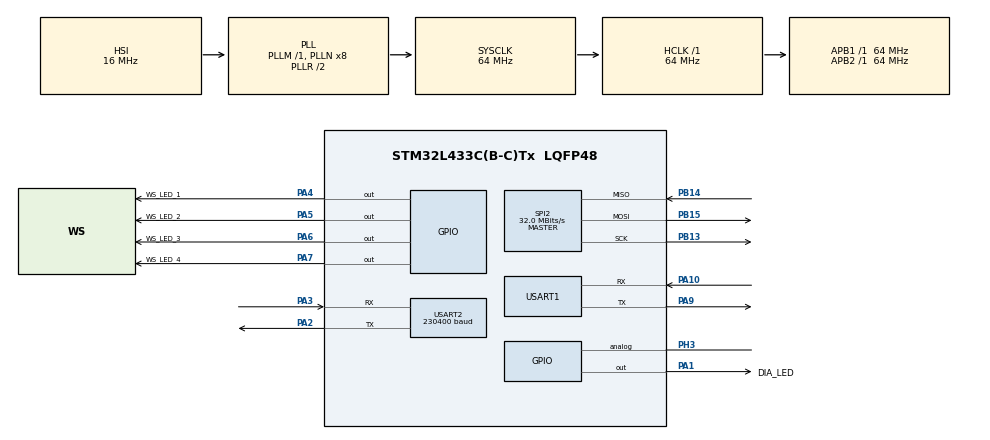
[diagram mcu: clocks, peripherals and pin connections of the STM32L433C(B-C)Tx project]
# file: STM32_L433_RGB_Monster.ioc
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Dma.Request0=TIM2_CH1
Dma.Request1=TIM2_UP
Dma.Request2=TIM2_CH2/CH4
Dma.TIM2_CH1.0.Direction=DMA_MEMORY_TO_PERIPH
Dma.TIM2_CH1.0.Instance=DMA1_Channel5
Dma.TIM2_CH1.0.MemDataAlignment=DMA_MDATAALIGN_WORD
Dma.TIM2_CH1.0.MemInc=DMA_MINC_ENABLE
Dma.TIM2_CH1.0.Mode=DMA_CIRCULAR
Dma.TIM2_CH1.0.PeriphDataAlignment=DMA_PDATAALIGN_WORD
Dma.TIM2_CH1.0.PeriphInc=DMA_PINC_DISABLE
Dma.TIM2_CH1.0.Priority=DMA_PRIORITY_VERY_HIGH
Dma.TIM2_CH2/CH4.2.Direction=DMA_MEMORY_TO_PERIPH
Dma.TIM2_CH2/CH4.2.Instance=DMA1_Channel7
Dma.TIM2_CH2/CH4.2.MemDataAlignment=DMA_MDATAALIGN_WORD
Dma.TIM2_CH2/CH4.2.MemInc=DMA_MINC_ENABLE
Dma.TIM2_CH2/CH4.2.Mode=DMA_CIRCULAR
Dma.TIM2_CH2/CH4.2.PeriphDataAlignment=DMA_PDATAALIGN_WORD
Dma.TIM2_CH2/CH4.2.PeriphInc=DMA_PINC_DISABLE
Dma.TIM2_CH2/CH4.2.Priority=DMA_PRIORITY_VERY_HIGH
Dma.TIM2_UP.1.Direction=DMA_MEMORY_TO_PERIPH
Dma.TIM2_UP.1.Instance=DMA1_Channel2
Dma.TIM2_UP.1.MemDataAlignment=DMA_MDATAALIGN_WORD
Dma.TIM2_UP.1.MemInc=DMA_MINC_ENABLE
Dma.TIM2_UP.1.Mode=DMA_CIRCULAR
Dma.TIM2_UP.1.PeriphDataAlignment=DMA_PDATAALIGN_WORD
Dma.TIM2_UP.1.PeriphInc=DMA_PINC_DISABLE
Dma.TIM2_UP.1.Priority=DMA_PRIORITY_VERY_HIGH
Mcu.Family=STM32L4
Mcu.Name=STM32L433C(B-C)Tx
Mcu.Package=LQFP48
NVIC.DMA1_Channel2_IRQn=true\:0\:0\:false\:false\:true\:false\:true\:true
NVIC.DMA1_Channel5_IRQn=true\:0\:0\:false\:false\:true\:false\:true\:true
NVIC.DMA1_Channel7_IRQn=true\:0\:0\:false\:false\:true\:false\:true\:true
NVIC.PriorityGroup=NVIC_PRIORITYGROUP_4
NVIC.TIM2_IRQn=true\:0\:0\:false\:false\:true\:true\:true\:true
NVIC.USART1_IRQn=true\:0\:0\:false\:false\:true\:true\:true\:true
NVIC.USART2_IRQn=true\:0\:0\:false\:false\:true\:true\:true\:true
PA1.GPIO_Label=DIA_LED
PA1.Signal=GPIO_Output
PA10.Mode=Asynchronous
PA10.Signal=USART1_RX
PA13\ (JTMS-SWDIO).Mode=Serial_Wire
PA13\ (JTMS-SWDIO).Signal=SYS_JTMS-SWDIO
PA14\ (JTCK-SWCLK).Mode=Serial_Wire
PA14\ (JTCK-SWCLK).Signal=SYS_JTCK-SWCLK
PA2.Mode=Asynchronous
PA2.Signal=USART2_TX
PA3.Mode=Asynchronous
PA3.Signal=USART2_RX
PA4.GPIO_Label=WS_LED_1
PA4.Signal=GPIO_Output
PA5.GPIO_Label=WS_LED_2
PA5.Signal=GPIO_Output
PA6.GPIO_Label=WS_LED_3
PA6.Signal=GPIO_Output
PA7.GPIO_Label=WS_LED_4
PA7.Signal=GPIO_Output
PA9.Mode=Asynchronous
PA9.Signal=USART1_TX
PB13.Mode=Full_Duplex_Master
PB13.Signal=SPI2_SCK
PB14.Mode=Full_Duplex_Master
PB14.Signal=SPI2_MISO
PB15.Mode=Full_Duplex_Master
PB15.Signal=SPI2_MOSI
PH3-BOOT0.Signal=GPIO_Analog
ProjectManager.HeapSize=0x200
ProjectManager.StackSize=0x400
ProjectManager.TargetToolchain=Makefile
RCC.ADCFreq_Value=64000000
RCC.AHBFreq_Value=64000000
RCC.APB1Freq_Value=64000000
RCC.APB1TimFreq_Value=64000000
RCC.APB2Freq_Value=64000000
RCC.APB2TimFreq_Value=64000000
RCC.CortexFreq_Value=64000000
RCC.HCLKFreq_Value=64000000
RCC.HSE_VALUE=8000000
RCC.HSI48_VALUE=48000000
RCC.HSI_VALUE=16000000
RCC.LSE_VALUE=32768
RCC.MSI_VALUE=4000000
RCC.PLLSourceVirtual=RCC_PLLSOURCE_HSI
RCC.SYSCLKFreq_VALUE=64000000
RCC.SYSCLKSource=RCC_SYSCLKSOURCE_PLLCLK
RCC.USBFreq_Value=64000000
RCC.VCOOutputFreq_Value=128000000
RTC.Format=RTC_FORMAT_BIN
RTC.HourFormat=RTC_HOURFORMAT_12
RTC.Year=25
SPI2.BaudRatePrescaler=SPI_BAUDRATEPRESCALER_2
SPI2.CalculateBaudRate=32.0 MBits/s
SPI2.Direction=SPI_DIRECTION_2LINES
SPI2.Mode=SPI_MODE_MASTER
SPI2.VirtualType=VM_MASTER
TIM2.Channel-PWM\ Generation1\ No\ Output=TIM_CHANNEL_1
TIM2.Channel-PWM\ Generation2\ No\ Output=TIM_CHANNEL_2
USART1.VirtualMode-Asynchronous=VM_ASYNC
USART2.BaudRate=230400
USART2.VirtualMode-Asynchronous=VM_ASYNC
VP_RTC_VS_RTC_Activate.Mode=RTC_Enabled
VP_RTC_VS_RTC_Calendar.Mode=RTC_Calendar
VP_TIM2_VS_no_output1.Mode=PWM Generation1 No Output
VP_TIM2_VS_no_output2.Mode=PWM Generation2 No Output
board=custom

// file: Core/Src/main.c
/* USER CODE BEGIN Header */
/**
  ******************************************************************************
  * @file           : main.c
  * @brief          : Main program body
  ******************************************************************************
  * @attention
  *
  * Copyright (c) 2025 STMicroelectronics.
  * All rights reserved.
  *
  * This software is licensed under terms that can be found in the LICENSE file
  * in the root directory of this software component.
  * If no LICENSE file comes with this software, it is provided AS-IS.
  *
  ******************************************************************************
  */
/* USER CODE END Header */
#include "main.h"

/* USER CODE BEGIN Includes */
#include "NOS_Lib.h"
/* USER CODE END Includes */

/* USER CODE BEGIN PTD */
typedef union NOS_RealTime_Union_t
{
  uint64_t compressedTime;
  uint8_t particles[8];
}NOS_RealTime_Union;

typedef enum NOS_RealTime_Union_Decoder_e
{
  Seconds,Minutes,Hours,Days,Month,Year
}NOS_RealTime_Union_Decoder;
/* USER CODE END PTD */

RTC_HandleTypeDef hrtc;

SPI_HandleTypeDef hspi2;

TIM_HandleTypeDef htim2;
DMA_HandleTypeDef hdma_tim2_ch1;
DMA_HandleTypeDef hdma_tim2_up;
DMA_HandleTypeDef hdma_tim2_ch2_ch4;

UART_HandleTypeDef huart1;
UART_HandleTypeDef huart2;

/* USER CODE BEGIN PV */
extern uint8_t frameBufferA[3 * 512];
extern uint8_t frameBufferB[3 * 512];
extern uint8_t frameBufferC[3 * 512];
extern uint8_t frameBufferD[3 * 512];

NOS_TimeEvent screenUpdateEvent = {0};
NOS_TimeEvent timeTestEvent = {0};

WS2812B_Strip stripA = {0};
WS2812B_Strip stripB = {0};
WS2812B_Strip stripC = {0};
WS2812B_Strip stripD = {0};

PixelColor pixelsA[512];
PixelColor pixelsB[512];
PixelColor pixelsC[512];
PixelColor pixelsD[512];

NOS_UART_Struct UART2;
NOS_UART_Struct UART1;

int receiveTime = 0;

int uartPixelCount = 0;

int currColor = 0;
int buttonDelay = 0;

Effect_Struct breatheA = {0};
Effect_Struct rainbowA = {0};
Effect_Struct dotsA = {0};
Effect_Struct walkingPixelA = {0};
Effect_Struct steadyColorA = {0};

Effect_Wrap* effects;

NOS_Short value;

UART_Message lastMessage;
UART_Message bluetoothMessage;

NOS_Flash_Chunk tempInitChunk = {0};

NOS_Flash_Memory_Struct flashMemoryStruct = {0};
NOS_RAM_Struct ramMemoryStruct;

PixelColor nullColor = {0,0,0};
PixelColor white = {255,255,255};

RTC_TimeTypeDef sTime = {0};
RTC_DateTypeDef sDate = {0};

NOS_RealTime_Union RealTimeUnion = {0};
/* USER CODE END PV */

void SystemClock_Config(void);
static void MX_GPIO_Init(void);
static void MX_DMA_Init(void);
static void MX_SPI2_Init(void);
static void MX_USART1_UART_Init(void);
static void MX_USART2_UART_Init(void);
static void MX_TIM2_Init(void);
static void MX_RTC_Init(void);

/* USER CODE BEGIN 0 */
bool receive = false;

void HAL_UART_RxCpltCallback(UART_HandleTypeDef* huart) {
  if(huart->Instance == USART2)
  {
    NOS_UART_ReceiveHandler(&UART2,huart);
    receive = true;
  }

  if(huart->Instance == USART1)
  {
    NOS_UART_ReceiveHandler(&UART1,huart);
    receive = true;
  }
}

bool tick = false;
bool screenUpdate = false;

//#define FLASH_REBUILD
//#define FLASH_TEST
/* USER CODE END 0 */

void SetRealTimeUnion(NOS_RealTime_Union* rt, uint8_t _sec,uint8_t _min, uint8_t _hour, uint8_t _day, uint8_t _month, uint8_t _year)
{
  rt->particles[Seconds] = _sec;
  rt->particles[Minutes] = _min;
  rt->particles[Hours] = _hour;
  rt->particles[Days] = _day;
  rt->particles[Month] = _month;
  rt->particles[Year] = _year;
}

void PrintRealTimeUnion(UART_HandleTypeDef* huart, NOS_RealTime_Union* rt)
{
  char message[20];

  message[0] = (rt->particles[Month] / 10) + 48;
  message[1] = (rt->particles[Month] % 10) + 48;
  message[2] = '/';
  message[3] = (rt->particles[Days] / 10) + 48;
  message[4] = (rt->particles[Days] % 10) + 48;
  message[5] = '/';
  message[6] = (rt->particles[Year] / 10) + 48;
  message[7] = (rt->particles[Year] % 10) + 48;
  message[8] = ' ';
  message[9] = (rt->particles[Hours] / 10) + 48;
  message[10] = (rt->particles[Hours] % 10) + 48;
  message[11] = '/';
  message[12] = (rt->particles[Minutes] / 10) + 48;
  message[13] = (rt->particles[Minutes] % 10) + 48;
  message[14] = '/';
  message[15] = (rt->particles[Seconds] / 10) + 48;
  message[16] = (rt->particles[Seconds] % 10) + 48;
  message[17] = ' ';
  message[18] = '\n';
  message[19] = '\0';

  HAL_UART_Transmit(huart,message,20,1000);
}

void PrintRealTime(UART_HandleTypeDef* huart, RTC_TimeTypeDef* time, RTC_DateTypeDef* date)
{
  char message[20];

  // mm/dd/yy hh/mm/ss

  message[0] = (date->Month / 10) + 48;
  message[1] = (date->Month % 10) + 48;

  message[2] = '/';

  message[3] = (date->Date / 10) + 48;
  message[4] = (date->Date % 10) + 48;

  message[5] = '/';

  message[6] = (date->Year / 10) + 48;
  message[7] = (date->Year % 10) + 48;

  message[8] = ' ';

  message[9] = (time->Hours / 10) + 48;
  message[10] = (time->Hours % 10) + 48;

  message[11] = '/';

  message[12] = (time->Minutes / 10) + 48;
  message[13] = (time->Minutes % 10) + 48;

  message[14] = '/';

  message[15] = (time->Seconds / 10) + 48;
  message[16] = (time->Seconds % 10) + 48;

  message[17] = ' ';
  message[18] = '\n';
  message[19] = '\0';

  HAL_UART_Transmit(huart,message,20,1000);
}

int main(void)
{

  /* MCU Configuration--------------------------------------------------------*/

  /* Reset of all peripherals, Initializes the Flash interface and the Systick. */
  HAL_Init();

  /* Configure the system clock */
  SystemClock_Config();

  /* Initialize all configured peripherals */
  MX_GPIO_Init();
  MX_DMA_Init();
  MX_SPI2_Init();
  MX_USART1_UART_Init();
  MX_USART2_UART_Init();
  MX_TIM2_Init();
  MX_RTC_Init();
  /* USER CODE BEGIN 2 */
  HAL_UART_Receive_IT(&huart1,UART1.rx_buff,1);
  HAL_UART_Receive_IT(&huart2,UART2.rx_buff,1);

  HAL_UART_Transmit(&huart1,"HELLO",sizeof("HELLO"),1000);
  HAL_UART_Transmit(&huart2,"HELLO",sizeof("HELLO"),1000);

  visInit();

  NOS_WS2812B_Strip_FullInit(&stripA,&frameBufferA,&pixelsA,128);
  NOS_WS2812B_Strip_FullInit(&stripB,&frameBufferB,&pixelsB,128);
  NOS_WS2812B_Strip_FullInit(&stripC,&frameBufferC,&pixelsC,128);
  NOS_WS2812B_Strip_FullInit(&stripD,&frameBufferD,&pixelsD,128);

  NOS_TimeEvent_Init(&screenUpdateEvent, 20);
  NOS_TimeEvent_Init(&timeTestEvent,60000);

  NOS_UART_ReceiveAbort(&UART2,&huart2);
  NOS_UART_ReceiveAbort(&UART1,&huart1);

  NOS_RAM_Init(&ramMemoryStruct);

  effects = NOS_RAM_Alloc(&ramMemoryStruct, sizeof(Effect_Struct) * 5);

  NOS_WS2812B_Strip_Effect_Copy(&effects[0],&breatheA);
  NOS_WS2812B_Strip_Effect_Copy(&effects[1],&rainbowA);
  NOS_WS2812B_Strip_Effect_Copy(&effects[2],&dotsA);
  NOS_WS2812B_Strip_Effect_Copy(&effects[3],&walkingPixelA);
  NOS_WS2812B_Strip_Effect_Copy(&effects[4],&steadyColorA);

  NOS_FlashMemory_Struct_Init(&flashMemoryStruct,FLASH_STORAGE_A);

  NOS_Flash_Chunk_Init(&tempInitChunk,&effects[0].data,48);
  NOS_FlashMemory_Struct_AddChunk(&flashMemoryStruct,&tempInitChunk);

  NOS_Flash_Chunk_Init(&tempInitChunk,&effects[1].data,sizeof(Effect_Struct));
  NOS_FlashMemory_Struct_AddChunk(&flashMemoryStruct,&tempInitChunk);

  NOS_Flash_Chunk_Init(&tempInitChunk,&effects[2].data,sizeof(Effect_Struct));
  NOS_FlashMemory_Struct_AddChunk(&flashMemoryStruct,&tempInitChunk);

  NOS_Flash_Chunk_Init(&tempInitChunk,&effects[3].data,sizeof(Effect_Struct));
  NOS_FlashMemory_Struct_AddChunk(&flashMemoryStruct,&tempInitChunk);

  NOS_Flash_Chunk_Init(&tempInitChunk,&effects[4].data,sizeof(Effect_Struct));
  NOS_FlashMemory_Struct_AddChunk(&flashMemoryStruct,&tempInitChunk);

  #ifndef FLASH_REBUILD
  if(NOS_FlashMemory_Struct_Validate(&flashMemoryStruct))
  {
    NOS_Flash_Memory_Struct_Load(&flashMemoryStruct);
  }
  else
  {
    NOS_WS2812B_Strip_Effect_Init(&effects[0],&nullColor,100,1,60,80,0,0,0,0,EFFECT_BREATHE_ID,true);
    NOS_WS2812B_Strip_Effect_Init(&effects[1],&nullColor,1000,1,200,800,0,0,0,0,EFFECT_RAINBOW_ID,true);
    NOS_WS2812B_Strip_Effect_Init(&effects[2],&white,40,1,0,100,0,0,0,0,EFFECT_DOTS_ID,true);
    NOS_WS2812B_Strip_Effect_Init(&effects[3],&white,1000,1,0,48,3,0,0,0,EFFECT_WALKING_PIXELS_ID,true);
    NOS_WS2812B_Strip_Effect_Init(&effects[4],&white,0,0,0,0,0,0,0,0,EFFECT_STEADY_COLOR_ID,true);
  }
  #endif

  #ifdef FLASH_REBUILD
  NOS_WS2812B_Strip_Effect_Init(&effects[0],&nullColor,20,1,40,60,0,0,0,0,EFFECT_BREATHE_ID,true);
  NOS_WS2812B_Strip_Effect_Init(&effects[1],&nullColor,1000,1,200,800,0,0,0,0,EFFECT_RAINBOW_ID,false);
  NOS_WS2812B_Strip_Effect_Init(&effects[2],&white,40,1,0,100,0,0,0,0,EFFECT_DOTS_ID,false);
  NOS_WS2812B_Strip_Effect_Init(&effects[3],&white,100,1,0,48,3,0,0,0,EFFECT_WALKING_PIXELS_ID,false);
  NOS_WS2812B_Strip_Effect_Init(&effects[4],&white,0,0,0,0,0,0,0,0,EFFECT_STEADY_COLOR_ID,false);
  #endif

  for(int i = 0; i < 5; i++)
  {
    NOS_WS2812B_Strip_Effects_AddEffect(&stripA,effects[i].effect);
    NOS_WS2812B_Strip_Effects_AddEffect(&stripB,effects[i].effect);
    NOS_WS2812B_Strip_Effects_AddEffect(&stripC,effects[i].effect);
    NOS_WS2812B_Strip_Effects_AddEffect(&stripD,effects[i].effect);
  }

  SetRealTimeUnion(&RealTimeUnion,sTime.Seconds,sTime.Minutes,sTime.Hours,sDate.Date,sDate.Month,sDate.Year);
  PrintRealTimeUnion(&huart1,&RealTimeUnion);
  //NOS_Strip_UART_ParseStringCommand(&stripA,"&/Breathe/70/80/20/true/&/Rainbow/#0000ff/#7f00ff/60/false/&/Dots/#ffff00/60/true/&/Walking/#ffff00/5/70/false/&/Steady/#00ff00/false/&",136);
  //NOS_Strip_UART_ParseStringCommand(&stripB,"&/Breathe/70/80/20/true/&/Rainbow/#0000ff/#7f00ff/60/false/&/Dots/#ffff00/60/true/&/Walking/#ffff00/5/70/false/&/Steady/#00ff00/false/&",136);
  //NOS_Strip_UART_ParseStringCommand(&stripC,"&/Breathe/70/80/20/true/&/Rainbow/#0000ff/#7f00ff/60/false/&/Dots/#ffff00/60/true/&/Walking/#ffff00/5/70/false/&/Steady/#00ff00/false/&",136);
  /* USER CODE END 2 */

  /* Infinite loop */
  /* USER CODE BEGIN WHILE */
  while (1)
  {
    if(tick)
    {
          NOS_UART_Timer_Handler(&UART2);
          NOS_UART_Timer_Handler(&UART1);

          NOS_TimeEvent_TickHandler(&screenUpdateEvent);
          NOS_TimeEvent_TickHandler(&timeTestEvent);

          NOS_WS2812B_Strip_Effects_Handler(&stripA);
          NOS_WS2812B_Strip_Effects_Handler(&stripB);
          NOS_WS2812B_Strip_Effects_Handler(&stripC);
          NOS_WS2812B_Strip_Effects_Handler(&stripD);
          tick = false;
    }

    if(NOS_TimeEvent_Check(&timeTestEvent))
    {
      HAL_RTC_GetTime(&hrtc,&sTime,RTC_FORMAT_BIN);
      HAL_RTC_GetDate(&hrtc,&sDate,RTC_FORMAT_BIN);
      SetRealTimeUnion(&RealTimeUnion,sTime.Seconds,sTime.Minutes,sTime.Hours,sDate.Date,sDate.Month,sDate.Year);
      PrintRealTimeUnion(&huart1,&RealTimeUnion);
      NOS_TimeEvent_FinishEvent(&timeTestEvent);
    }

    if(NOS_UART_CheckReceive(&UART1))
    {
      if(NOS_Strip_UART_ParseStringCommand(&stripA,UART1.rx_buff,UART1.lastMessageSize))
      {
        NOS_Strip_UART_ParseStringCommand(&stripB,UART1.rx_buff,UART1.lastMessageSize);
        NOS_Strip_UART_ParseStringCommand(&stripC,UART1.rx_buff,UART1.lastMessageSize);
        NOS_Strip_UART_ParseStringCommand(&stripD,UART1.rx_buff,UART1.lastMessageSize);

        for(int i = 0; i < 5; i++)
        {
          NOS_WS2812B_Strip_Effect_Copy(&effects[i].effect,&stripA.effects[i]);
        }

        NOS_Flash_Memory_Struct_Save(&flashMemoryStruct);
      }

      NOS_UART_EndReceive(&UART1);
      HAL_GPIO_TogglePin(GPIOC,GPIO_PIN_13);

      NOS_WS2812B_Strip_Update(&stripA);
      NOS_WS2812B_Strip_Update(&stripB);
      NOS_WS2812B_Strip_Update(&stripC);
      NOS_WS2812B_Strip_Update(&stripD);
      visHandle();

    }

    if(NOS_UART_CheckReceive(&UART2))
    {

      if(NOS_UART_ParsePacket(&UART2,&lastMessage))
      {

      switch (lastMessage.channel.data)
      {
        //Global leds strips commands
        case 0x01:

          NOS_Strip_UART_ParseCommand(&stripA,&lastMessage);
          NOS_Strip_UART_ParseCommand(&stripB,&lastMessage);
          NOS_Strip_UART_ParseCommand(&stripC,&lastMessage);
          NOS_Strip_UART_ParseCommand(&stripD,&lastMessage);

          NOS_WS2812B_Strip_Effect_Copy(&breatheA,&stripA.effects[0]);
          NOS_WS2812B_Strip_Effect_Copy(&rainbowA,&stripA.effects[1]);
          NOS_WS2812B_Strip_Effect_Copy(&dotsA,&stripA.effects[2]);
          NOS_WS2812B_Strip_Effect_Copy(&walkingPixelA,&stripA.effects[3]);
          NOS_WS2812B_Strip_Effect_Copy(&steadyColorA,&stripA.effects[4]);

          //NOS_Flash_Memory_Struct_Save(&flashMemoryStruct);

        break;

        //stripA commands
        case 0x02:

          NOS_Strip_UART_ParseCommand(&stripA,&lastMessage);
          NOS_WS2812B_Strip_Effect_Copy(&dotsA,&stripA.effects[2]);
          //NOS_Flash_Memory_Struct_Save(&flashMemoryStruct);

        break;

        //stripB commands
        case 0x03:

          NOS_Strip_UART_ParseCommand(&stripB,&lastMessage);
          NOS_WS2812B_Strip_Effect_Copy(&dotsA,&stripB.effects[2]);
          //NOS_Flash_Memory_Struct_Save(&flashMemoryStruct);

        break;

        //stripC commands
        case 0x04:

          NOS_Strip_UART_ParseCommand(&stripC,&lastMessage);
          NOS_WS2812B_Strip_Effect_Copy(&dotsA,&stripC.effects[2]);
          //NOS_Flash_Memory_Struct_Save(&flashMemoryStruct);

        break;

        //stripD commands
        case 0x05:

          NOS_Strip_UART_ParseCommand(&stripD,&lastMessage);
          NOS_WS2812B_Strip_Effect_Copy(&dotsA,&stripD.effects[2]);
          //NOS_Flash_Memory_Struct_Save(&flashMemoryStruct);

        break;

          default:
          break;
        }
      }

      HAL_GPIO_TogglePin(GPIOC,GPIO_PIN_13);

      NOS_UART_PacketApprovedNotice(&lastMessage,&huart2);

      NOS_WS2812B_Strip_Update(&stripA);
      NOS_WS2812B_Strip_Update(&stripB);
      NOS_WS2812B_Strip_Update(&stripC);
      NOS_WS2812B_Strip_Update(&stripD);
      visHandle();

     NOS_UART_EndReceive(&UART2);
    }

    if (NOS_TimeEvent_Check(&screenUpdateEvent))
    {

      NOS_WS2812B_Strip_Update(&stripA);
      NOS_WS2812B_Strip_Update(&stripB);
      NOS_WS2812B_Strip_Update(&stripC);
      NOS_WS2812B_Strip_Update(&stripD);

      visHandle();

      NOS_TimeEvent_FinishEvent(&screenUpdateEvent);
    }
    /* USER CODE END WHILE */

  }
}

void SystemClock_Config(void)
{
  RCC_OscInitTypeDef RCC_OscInitStruct = {0};
  RCC_ClkInitTypeDef RCC_ClkInitStruct = {0};

  /** Configure the main internal regulator output voltage
  */
  if (HAL_PWREx_ControlVoltageScaling(PWR_REGULATOR_VOLTAGE_SCALE1) != HAL_OK)
  {
    Error_Handler();
  }

  /** Initializes the RCC Oscillators according to the specified parameters
  * in the RCC_OscInitTypeDef structure.
  */
  RCC_OscInitStruct.OscillatorType = RCC_OSCILLATORTYPE_HSI|RCC_OSCILLATORTYPE_LSI;
  RCC_OscInitStruct.HSIState = RCC_HSI_ON;
  RCC_OscInitStruct.HSICalibrationValue = RCC_HSICALIBRATION_DEFAULT;
  RCC_OscInitStruct.LSIState = RCC_LSI_ON;
  RCC_OscInitStruct.PLL.PLLState = RCC_PLL_ON;
  RCC_OscInitStruct.PLL.PLLSource = RCC_PLLSOURCE_HSI;
  RCC_OscInitStruct.PLL.PLLM = 1;
  RCC_OscInitStruct.PLL.PLLN = 8;
  RCC_OscInitStruct.PLL.PLLP = RCC_PLLP_DIV7;
  RCC_OscInitStruct.PLL.PLLQ = RCC_PLLQ_DIV2;
  RCC_OscInitStruct.PLL.PLLR = RCC_PLLR_DIV2;
  if (HAL_RCC_OscConfig(&RCC_OscInitStruct) != HAL_OK)
  {
    Error_Handler();
  }

  /** Initializes the CPU, AHB and APB buses clocks
  */
  RCC_ClkInitStruct.ClockType = RCC_CLOCKTYPE_HCLK|RCC_CLOCKTYPE_SYSCLK
                              |RCC_CLOCKTYPE_PCLK1|RCC_CLOCKTYPE_PCLK2;
  RCC_ClkInitStruct.SYSCLKSource = RCC_SYSCLKSOURCE_PLLCLK;
  RCC_ClkInitStruct.AHBCLKDivider = RCC_SYSCLK_DIV1;
  RCC_ClkInitStruct.APB1CLKDivider = RCC_HCLK_DIV1;
  RCC_ClkInitStruct.APB2CLKDivider = RCC_HCLK_DIV1;

  if (HAL_RCC_ClockConfig(&RCC_ClkInitStruct, FLASH_LATENCY_3) != HAL_OK)
  {
    Error_Handler();
  }
}

static void MX_RTC_Init(void)
{

  /** Initialize RTC Only
  */
  hrtc.Instance = RTC;
  hrtc.Init.HourFormat = RTC_HOURFORMAT_24;
  hrtc.Init.AsynchPrediv = 127;
  hrtc.Init.SynchPrediv = 255;
  hrtc.Init.OutPut = RTC_OUTPUT_DISABLE;
  hrtc.Init.OutPutRemap = RTC_OUTPUT_REMAP_NONE;
  hrtc.Init.OutPutPolarity = RTC_OUTPUT_POLARITY_HIGH;
  hrtc.Init.OutPutType = RTC_OUTPUT_TYPE_OPENDRAIN;
  if (HAL_RTC_Init(&hrtc) != HAL_OK)
  {
    Error_Handler();
  }

  /** Initialize RTC and set the Time and Date
  */
  sTime.Hours = 20;
  sTime.Minutes = 27;
  sTime.Seconds = 15;
  sTime.TimeFormat = RTC_HOURFORMAT_24;
  sTime.DayLightSaving = RTC_DAYLIGHTSAVING_NONE;
  sTime.StoreOperation = RTC_STOREOPERATION_RESET;
  if (HAL_RTC_SetTime(&hrtc, &sTime, RTC_FORMAT_BIN) != HAL_OK)
  {
    Error_Handler();
  }
  sDate.WeekDay = RTC_WEEKDAY_TUESDAY;
  sDate.Month = RTC_MONTH_APRIL;
  sDate.Date = 8;
  sDate.Year = 25;

  if (HAL_RTC_SetDate(&hrtc, &sDate, RTC_FORMAT_BIN) != HAL_OK)
  {
    Error_Handler();
  }

}

static void MX_SPI2_Init(void)
{

  /* SPI2 parameter configuration*/
  hspi2.Instance = SPI2;
  hspi2.Init.Mode = SPI_MODE_MASTER;
  hspi2.Init.Direction = SPI_DIRECTION_2LINES;
  hspi2.Init.DataSize = SPI_DATASIZE_4BIT;
  hspi2.Init.CLKPolarity = SPI_POLARITY_LOW;
  hspi2.Init.CLKPhase = SPI_PHASE_1EDGE;
  hspi2.Init.NSS = SPI_NSS_SOFT;
  hspi2.Init.BaudRatePrescaler = SPI_BAUDRATEPRESCALER_2;
  hspi2.Init.FirstBit = SPI_FIRSTBIT_MSB;
  hspi2.Init.TIMode = SPI_TIMODE_DISABLE;
  hspi2.Init.CRCCalculation = SPI_CRCCALCULATION_DISABLE;
  hspi2.Init.CRCPolynomial = 7;
  hspi2.Init.CRCLength = SPI_CRC_LENGTH_DATASIZE;
  hspi2.Init.NSSPMode = SPI_NSS_PULSE_ENABLE;
  if (HAL_SPI_Init(&hspi2) != HAL_OK)
  {
    Error_Handler();
  }

}

static void MX_TIM2_Init(void)
{

  TIM_MasterConfigTypeDef sMasterConfig = {0};
  TIM_OC_InitTypeDef sConfigOC = {0};

  htim2.Instance = TIM2;
  htim2.Init.Prescaler = 0;
  htim2.Init.CounterMode = TIM_COUNTERMODE_UP;
  htim2.Init.Period = 4294967295;
  htim2.Init.ClockDivision = TIM_CLOCKDIVISION_DIV1;
  htim2.Init.AutoReloadPreload = TIM_AUTORELOAD_PRELOAD_DISABLE;
  if (HAL_TIM_PWM_Init(&htim2) != HAL_OK)
  {
    Error_Handler();
  }
  sMasterConfig.MasterOutputTrigger = TIM_TRGO_RESET;
  sMasterConfig.MasterSlaveMode = TIM_MASTERSLAVEMODE_DISABLE;
  if (HAL_TIMEx_MasterConfigSynchronization(&htim2, &sMasterConfig) != HAL_OK)
  {
    Error_Handler();
  }
  sConfigOC.OCMode = TIM_OCMODE_PWM1;
  sConfigOC.Pulse = 0;
  sConfigOC.OCPolarity = TIM_OCPOLARITY_HIGH;
  sConfigOC.OCFastMode = TIM_OCFAST_DISABLE;
  if (HAL_TIM_PWM_ConfigChannel(&htim2, &sConfigOC, TIM_CHANNEL_1) != HAL_OK)
  {
    Error_Handler();
  }
  if (HAL_TIM_PWM_ConfigChannel(&htim2, &sConfigOC, TIM_CHANNEL_2) != HAL_OK)
  {
    Error_Handler();
  }

}

static void MX_USART1_UART_Init(void)
{

  huart1.Instance = USART1;
  huart1.Init.BaudRate = 115200;
  huart1.Init.WordLength = UART_WORDLENGTH_8B;
  huart1.Init.StopBits = UART_STOPBITS_1;
  huart1.Init.Parity = UART_PARITY_NONE;
  huart1.Init.Mode = UART_MODE_TX_RX;
  huart1.Init.HwFlowCtl = UART_HWCONTROL_NONE;
  huart1.Init.OverSampling = UART_OVERSAMPLING_16;
  huart1.Init.OneBitSampling = UART_ONE_BIT_SAMPLE_DISABLE;
  huart1.AdvancedInit.AdvFeatureInit = UART_ADVFEATURE_NO_INIT;
  if (HAL_UART_Init(&huart1) != HAL_OK)
  {
    Error_Handler();
  }

}

static void MX_USART2_UART_Init(void)
{

  huart2.Instance = USART2;
  huart2.Init.BaudRate = 230400;
  huart2.Init.WordLength = UART_WORDLENGTH_8B;
  huart2.Init.StopBits = UART_STOPBITS_1;
  huart2.Init.Parity = UART_PARITY_NONE;
  huart2.Init.Mode = UART_MODE_TX_RX;
  huart2.Init.HwFlowCtl = UART_HWCONTROL_NONE;
  huart2.Init.OverSampling = UART_OVERSAMPLING_16;
  huart2.Init.OneBitSampling = UART_ONE_BIT_SAMPLE_DISABLE;
  huart2.AdvancedInit.AdvFeatureInit = UART_ADVFEATURE_NO_INIT;
  if (HAL_UART_Init(&huart2) != HAL_OK)
  {
    Error_Handler();
  }

}

static void MX_DMA_Init(void)
{

  /* DMA controller clock enable */
  __HAL_RCC_DMA1_CLK_ENABLE();

  /* DMA interrupt init */
  /* DMA1_Channel2_IRQn interrupt configuration */
  HAL_NVIC_SetPriority(DMA1_Channel2_IRQn, 0, 0);
  HAL_NVIC_EnableIRQ(DMA1_Channel2_IRQn);
  /* DMA1_Channel5_IRQn interrupt configuration */
  HAL_NVIC_SetPriority(DMA1_Channel5_IRQn, 0, 0);
  HAL_NVIC_EnableIRQ(DMA1_Channel5_IRQn);
  /* DMA1_Channel7_IRQn interrupt configuration */
  HAL_NVIC_SetPriority(DMA1_Channel7_IRQn, 0, 0);
  HAL_NVIC_EnableIRQ(DMA1_Channel7_IRQn);

}

static void MX_GPIO_Init(void)
{
  GPIO_InitTypeDef GPIO_InitStruct = {0};

  /* GPIO Ports Clock Enable */
  __HAL_RCC_GPIOA_CLK_ENABLE();
  __HAL_RCC_GPIOB_CLK_ENABLE();
  __HAL_RCC_GPIOH_CLK_ENABLE();

  /*Configure GPIO pin Output Level */
  HAL_GPIO_WritePin(GPIOA, DIA_LED_Pin|WS_LED_1_Pin|WS_LED_2_Pin|WS_LED_3_Pin
                          |WS_LED_4_Pin, GPIO_PIN_RESET);

  /*Configure GPIO pins : DIA_LED_Pin WS_LED_1_Pin WS_LED_2_Pin WS_LED_3_Pin
                           WS_LED_4_Pin */
  GPIO_InitStruct.Pin = DIA_LED_Pin|WS_LED_1_Pin|WS_LED_2_Pin|WS_LED_3_Pin
                          |WS_LED_4_Pin;
  GPIO_InitStruct.Mode = GPIO_MODE_OUTPUT_PP;
  GPIO_InitStruct.Pull = GPIO_NOPULL;
  GPIO_InitStruct.Speed = GPIO_SPEED_FREQ_LOW;
  HAL_GPIO_Init(GPIOA, &GPIO_InitStruct);

  /*Configure GPIO pin : PH3 */
  GPIO_InitStruct.Pin = GPIO_PIN_3;
  GPIO_InitStruct.Mode = GPIO_MODE_ANALOG;
  GPIO_InitStruct.Pull = GPIO_NOPULL;
  HAL_GPIO_Init(GPIOH, &GPIO_InitStruct);

}

void Error_Handler(void)
{
  __disable_irq();
  while (1)
  {
  }
}
